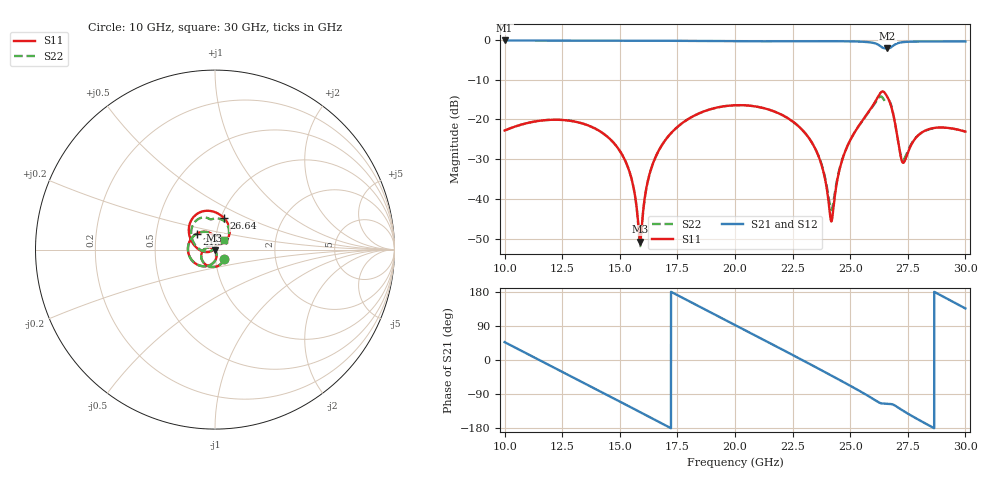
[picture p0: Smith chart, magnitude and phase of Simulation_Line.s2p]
! TOUCHSTONE file generated by CST MICROWAVE STUDIO
! Date and time: Wed Oct 17 00:47:23 2018
! Project name: 16 - Line - Longer.cst
! Parameters = {Copper_W=0.017; Ex=0.6; G=0.15; GCPW_U_1_End=2.43275; GCPW_U_2_End=5.19977; GCPW_U_3_End=7.9668; GCPW_Ucentre=7.9668; GCPW_VCentre=7.5; GCPW_V_1_End=7.5; GCPW_V_2_End=0.347476; GCPW_V_3_End=0.347476; GCPW_Via_R=0.15; GCPW_Via_U=7.66679; GCPW_Via_V=7.2; GCPW_Via_Wmax=0.017; GCPW_Via_W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
! Header version: 2015
! Port assignment regex: !\s*Touchstone port\s*([0-9]+)\s*=\s*CST MWS port\s*([0-9]+)\s*\(\"(.*)\"\)(\s*mode\s*([0-9]+))?.*
! Touchstone port assignment:
! Touchstone port 1 = CST MWS port 1 ("")
! Touchstone port 2 = CST MWS port 2 ("")
# GHz S RI R 50
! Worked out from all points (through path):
!   5001 points, 10 GHz to 30 GHz, reference 50 ohm
!   highest |S21| = -0.21 dB at 10 GHz (marker M1); lowest = -2.2 dB at 26.61 GHz (marker M2)
!   group delay of S21, straight-line fit = 87.7 ps
!   lowest |S11| = -50.7 dB at 15.88 GHz (marker M3), VSWR 1.01, Z = 49.8 - j0.189 ohm
!   |S11| at or under -10 dB: start of sweep to end of sweep
!   |S22| runs from -51.8 to -14.2 dB; largest |S21 - S12| = 0.0013
!   S11 on the Smith chart (normalised r, x): 10 GHz: 1.10, -0.11; 21.37 GHz: 0.80, +0.14; 26.64 GHz: 1.03, +0.38; 30 GHz: 1.09, +0.11
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10  0.0524 -0.0503  0.6636 0.7156  0.6636 0.7156  0.0521 -0.0506
11.652  -0.00874 -0.0968  0.9679 -0.0772  0.9679 -0.0772  -0.00926 -0.0968
13.336  -0.0753 -0.0488  0.524 -0.8152  0.524 -0.8152  -0.0756 -0.0484
15.144  -0.0322 0.012  -0.3975 -0.885  -0.3975 -0.885  -0.032 0.0122
15.56  -0.0139 0.00728  -0.5886 -0.7712  -0.5886 -0.7712  -0.0137 0.00756
15.88  -0.00224 -0.00189  -0.715 -0.6553  -0.715 -0.6553  -0.00201 -0.00162
16.22  0.00615 -0.016  -0.8245 -0.5097  -0.8245 -0.5097  0.00645 -0.0157
16.668  0.00866 -0.0387  -0.9232 -0.2913  -0.9232 -0.2913  0.00908 -0.0385
18.152  -0.056 -0.0928  -0.8365 0.4732  -0.8365 0.4731  -0.0555 -0.0932
20  -0.1505 -0.00486  -0.0388 0.9519  -0.0389 0.952  -0.1504 -0.00597
21.372  -0.1031 0.0878  0.6234 0.7206  0.6234 0.7207  -0.1041 0.0867
23.336  0.00783 0.0507  0.9311 -0.224  0.9312 -0.224  0.00616 0.0511
23.796  0.00726 0.0235  0.8423 -0.4555  0.8424 -0.4555  0.00563 0.0244
24.188  -0.00412 0.00329  0.7203 -0.6296  0.7204 -0.6296  -0.00558 0.00477
24.932  -0.048 -0.0142  0.393 -0.8669  0.3931 -0.8671  -0.0488 -0.0115
26.18  -0.1459 0.1162  -0.2958 -0.824  -0.2955 -0.8238  -0.1289 0.1218
26.612  0.0361 0.1881  -0.3379 -0.699  -0.3379 -0.6991  0.0012 0.174
26.644  0.0483 0.1774  -0.3394 -0.699  -0.3394 -0.6988  0.0152 0.174
26.668  0.0564 0.1687  -0.3406 -0.7001  -0.3404 -0.6999  0.0268 0.1717
27.3  0.00603 0.028  -0.6472 -0.6686  -0.6462 -0.6684  0.00488 0.0308
28.592  0.00259 0.0777  -0.9471 -0.0287  -0.9469 -0.0277  0.00157 0.0773
30  0.0477 0.0518  -0.6825 0.6582  -0.6825 0.6582  0.0482 0.0513
